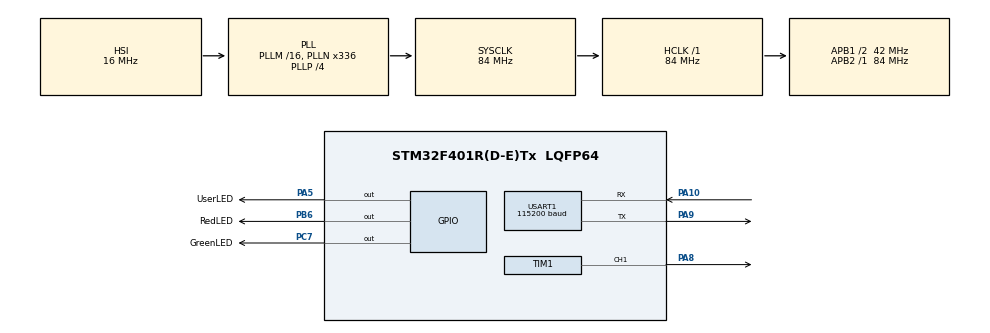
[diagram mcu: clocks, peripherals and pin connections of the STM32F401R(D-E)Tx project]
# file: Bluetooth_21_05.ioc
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Mcu.Family=STM32F4
Mcu.Name=STM32F401R(D-E)Tx
Mcu.Package=LQFP64
NVIC.PriorityGroup=NVIC_PRIORITYGROUP_0
NVIC.TIM2_IRQn=true\:0\:0\:false\:false\:true\:true
NVIC.USART1_IRQn=true\:0\:0\:false\:false\:true\:true
PA10.Mode=Asynchronous
PA10.Signal=USART1_RX
PA5.GPIO_Label=UserLED
PA5.Signal=GPIO_Output
PA8.Signal=S_TIM1_CH1
PA9.Mode=Asynchronous
PA9.Signal=USART1_TX
PB6.GPIO_Label=RedLED
PB6.Signal=GPIO_Output
PC7.GPIO_Label=GreenLED
PC7.Signal=GPIO_Output
ProjectManager.HeapSize=0x200
ProjectManager.StackSize=0x400
ProjectManager.TargetToolchain=SW4STM32
RCC.AHBFreq_Value=84000000
RCC.APB1CLKDivider=RCC_HCLK_DIV2
RCC.APB1Freq_Value=42000000
RCC.APB1TimFreq_Value=84000000
RCC.APB2Freq_Value=84000000
RCC.APB2TimFreq_Value=84000000
RCC.CortexFreq_Value=84000000
RCC.HCLKFreq_Value=84000000
RCC.HSE_VALUE=8000000
RCC.HSI_VALUE=16000000
RCC.LSE_VALUE=32768
RCC.PLLN=336
RCC.PLLP=RCC_PLLP_DIV4
RCC.PLLQ=7
RCC.SYSCLKFreq_VALUE=84000000
RCC.SYSCLKSource=RCC_SYSCLKSOURCE_PLLCLK
RCC.VCOOutputFreq_Value=336000000
SH.S_TIM1_CH1.0=TIM1_CH1,PWM Generation1 CH1
TIM1.Channel-PWM\ Generation1\ CH1=TIM_CHANNEL_1
TIM1.Period=100
TIM1.Prescaler=84
TIM1.Pulse-PWM\ Generation1\ CH1=50
TIM2.Period=2000
TIM2.Prescaler=42000
TIM2.TIM_MasterOutputTrigger=TIM_TRGO_UPDATE
USART1.BaudRate=115200
USART1.VirtualMode=VM_ASYNC
VP_TIM1_VS_ClockSourceINT.Mode=Internal
VP_TIM2_VS_ClockSourceINT.Mode=Internal
board=NUCLEO-F401RE

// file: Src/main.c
/**
  ******************************************************************************
  * @file           : main.c
  * @brief          : Main program body
  ******************************************************************************
  ** This notice applies to any and all portions of this file
  * that are not between comment pairs USER CODE BEGIN and
  * USER CODE END. Other portions of this file, whether
  * inserted by the user or by software development tools
  * are owned by their respective copyright owners.
  *
  * COPYRIGHT(c) 2019 STMicroelectronics
  *
  * Redistribution and use in source and binary forms, with or without modification,
  * are permitted provided that the following conditions are met:
  *   1. Redistributions of source code must retain the above copyright notice,
  *      this list of conditions and the following disclaimer.
  *   2. Redistributions in binary form must reproduce the above copyright notice,
  *      this list of conditions and the following disclaimer in the documentation
  *      and/or other materials provided with the distribution.
  *   3. Neither the name of STMicroelectronics nor the names of its contributors
  *      may be used to endorse or promote products derived from this software
  *      without specific prior written permission.
  *
  * THIS SOFTWARE IS PROVIDED BY THE COPYRIGHT HOLDERS AND CONTRIBUTORS "AS IS"
  * AND ANY EXPRESS OR IMPLIED WARRANTIES, INCLUDING, BUT NOT LIMITED TO, THE
  * IMPLIED WARRANTIES OF MERCHANTABILITY AND FITNESS FOR A PARTICULAR PURPOSE ARE
  * DISCLAIMED. IN NO EVENT SHALL THE COPYRIGHT HOLDER OR CONTRIBUTORS BE LIABLE
  * FOR ANY DIRECT, INDIRECT, INCIDENTAL, SPECIAL, EXEMPLARY, OR CONSEQUENTIAL
  * DAMAGES (INCLUDING, BUT NOT LIMITED TO, PROCUREMENT OF SUBSTITUTE GOODS OR
  * SERVICES; LOSS OF USE, DATA, OR PROFITS; OR BUSINESS INTERRUPTION) HOWEVER
  * CAUSED AND ON ANY THEORY OF LIABILITY, WHETHER IN CONTRACT, STRICT LIABILITY,
  * OR TORT (INCLUDING NEGLIGENCE OR OTHERWISE) ARISING IN ANY WAY OUT OF THE USE
  * OF THIS SOFTWARE, EVEN IF ADVISED OF THE POSSIBILITY OF SUCH DAMAGE.
  *
  ******************************************************************************
  */
#include "main.h"
#include "stm32f4xx_hal.h"

TIM_HandleTypeDef htim1;
TIM_HandleTypeDef htim2;

UART_HandleTypeDef huart1;

/* USER CODE BEGIN PV */
/* Private variables ---------------------------------------------------------*/
uint8_t pData[1];
int counter = 0;
int threshold = 50;
/* USER CODE END PV */

void SystemClock_Config(void);
static void MX_GPIO_Init(void);
static void MX_USART1_UART_Init(void);
static void MX_TIM1_Init(void);
static void MX_TIM2_Init(void);
void HAL_TIM_MspPostInit(TIM_HandleTypeDef *htim);

/* USER CODE BEGIN PFP */
/* Private function prototypes -----------------------------------------------*/

/* USER CODE END PFP */

/* USER CODE BEGIN 0 */

void HAL_UART_RxCpltCallback(UART_HandleTypeDef *huarts){

	HAL_UART_Receive_IT(&huart1, pData, sizeof(pData));
	if((pData[0]=='S') && (counter < threshold)){
		//HAL_GPIO_TogglePin(UserLED_GPIO_Port, UserLED_Pin); //Toggle UserLED

		HAL_GPIO_WritePin(UserLED_GPIO_Port, UserLED_Pin, GPIO_PIN_SET); //Turn on User LED

		HAL_TIM_Base_Start_IT(&htim2); //Enable TIM2 interrupt

		HAL_GPIO_WritePin(RedLED_GPIO_Port, RedLED_Pin, GPIO_PIN_RESET); //Turn off Red LED
		HAL_GPIO_WritePin(GreenLED_GPIO_Port, GreenLED_Pin, GPIO_PIN_SET); //Turn on Green LED

		 HAL_TIM_PWM_Start(&htim1, TIM_CHANNEL_1); //Start PWM
	}
	else if(pData[0]=='E')
	{
		//HAL_GPIO_TogglePin(UserLED_GPIO_Port, UserLED_Pin);

		HAL_GPIO_WritePin(UserLED_GPIO_Port, UserLED_Pin, GPIO_PIN_RESET); //Turn off User LED

		HAL_TIM_Base_Stop_IT(&htim2); //Disable TIM2 interrupt

		HAL_GPIO_WritePin(RedLED_GPIO_Port, RedLED_Pin, GPIO_PIN_SET); //Turn on Red LED
		HAL_GPIO_WritePin(GreenLED_GPIO_Port, GreenLED_Pin, GPIO_PIN_RESET); //Turn off Green LED

		 HAL_TIM_PWM_Stop(&htim1, TIM_CHANNEL_1); //STOP PWM
	}
}
/* USER CODE END 0 */

int main(void)
{
  /* USER CODE BEGIN 1 */
	HAL_GPIO_WritePin(RedLED_GPIO_Port, RedLED_Pin, GPIO_PIN_SET); //Red LED turned on at start up
	HAL_GPIO_WritePin(GreenLED_GPIO_Port, GreenLED_Pin, GPIO_PIN_RESET); //Green LED turned off at start up

	//HAL_GPIO_WritePin(UserLED_GPIO_Port, UserLED_Pin, GPIO_PIN_RESET); //User LED turned off at start up
  /* USER CODE END 1 */

  /* MCU Configuration----------------------------------------------------------*/

  /* Reset of all peripherals, Initializes the Flash interface and the Systick. */
  HAL_Init();

  /* Configure the system clock */
  SystemClock_Config();

  /* Initialize all configured peripherals */
  MX_GPIO_Init();
  MX_USART1_UART_Init();
  MX_TIM1_Init();
  MX_TIM2_Init();
  /* USER CODE BEGIN 2 */
  HAL_UART_Receive_IT(&huart1, pData, sizeof(pData));
  /* USER CODE END 2 */

  /* Infinite loop */
  while (1)
  {

  }

}

void SystemClock_Config(void)
{

  RCC_OscInitTypeDef RCC_OscInitStruct;
  RCC_ClkInitTypeDef RCC_ClkInitStruct;

    /**Configure the main internal regulator output voltage
    */
  __HAL_RCC_PWR_CLK_ENABLE();

  __HAL_PWR_VOLTAGESCALING_CONFIG(PWR_REGULATOR_VOLTAGE_SCALE2);

    /**Initializes the CPU, AHB and APB busses clocks
    */
  RCC_OscInitStruct.OscillatorType = RCC_OSCILLATORTYPE_HSI;
  RCC_OscInitStruct.HSIState = RCC_HSI_ON;
  RCC_OscInitStruct.HSICalibrationValue = 16;
  RCC_OscInitStruct.PLL.PLLState = RCC_PLL_ON;
  RCC_OscInitStruct.PLL.PLLSource = RCC_PLLSOURCE_HSI;
  RCC_OscInitStruct.PLL.PLLM = 16;
  RCC_OscInitStruct.PLL.PLLN = 336;
  RCC_OscInitStruct.PLL.PLLP = RCC_PLLP_DIV4;
  RCC_OscInitStruct.PLL.PLLQ = 7;
  if (HAL_RCC_OscConfig(&RCC_OscInitStruct) != HAL_OK)
  {
    _Error_Handler(__FILE__, __LINE__);
  }

    /**Initializes the CPU, AHB and APB busses clocks
    */
  RCC_ClkInitStruct.ClockType = RCC_CLOCKTYPE_HCLK|RCC_CLOCKTYPE_SYSCLK
                              |RCC_CLOCKTYPE_PCLK1|RCC_CLOCKTYPE_PCLK2;
  RCC_ClkInitStruct.SYSCLKSource = RCC_SYSCLKSOURCE_PLLCLK;
  RCC_ClkInitStruct.AHBCLKDivider = RCC_SYSCLK_DIV1;
  RCC_ClkInitStruct.APB1CLKDivider = RCC_HCLK_DIV2;
  RCC_ClkInitStruct.APB2CLKDivider = RCC_HCLK_DIV1;

  if (HAL_RCC_ClockConfig(&RCC_ClkInitStruct, FLASH_LATENCY_2) != HAL_OK)
  {
    _Error_Handler(__FILE__, __LINE__);
  }

    /**Configure the Systick interrupt time
    */
  HAL_SYSTICK_Config(HAL_RCC_GetHCLKFreq()/1000);

    /**Configure the Systick
    */
  HAL_SYSTICK_CLKSourceConfig(SYSTICK_CLKSOURCE_HCLK);

  /* SysTick_IRQn interrupt configuration */
  HAL_NVIC_SetPriority(SysTick_IRQn, 0, 0);
}

/* TIM1 init function */
static void MX_TIM1_Init(void)
{

  TIM_ClockConfigTypeDef sClockSourceConfig;
  TIM_MasterConfigTypeDef sMasterConfig;
  TIM_OC_InitTypeDef sConfigOC;
  TIM_BreakDeadTimeConfigTypeDef sBreakDeadTimeConfig;

  htim1.Instance = TIM1;
  htim1.Init.Prescaler = 84;
  htim1.Init.CounterMode = TIM_COUNTERMODE_UP;
  htim1.Init.Period = 100;
  htim1.Init.ClockDivision = TIM_CLOCKDIVISION_DIV1;
  htim1.Init.RepetitionCounter = 0;
  if (HAL_TIM_Base_Init(&htim1) != HAL_OK)
  {
    _Error_Handler(__FILE__, __LINE__);
  }

  sClockSourceConfig.ClockSource = TIM_CLOCKSOURCE_INTERNAL;
  if (HAL_TIM_ConfigClockSource(&htim1, &sClockSourceConfig) != HAL_OK)
  {
    _Error_Handler(__FILE__, __LINE__);
  }

  if (HAL_TIM_PWM_Init(&htim1) != HAL_OK)
  {
    _Error_Handler(__FILE__, __LINE__);
  }

  sMasterConfig.MasterOutputTrigger = TIM_TRGO_RESET;
  sMasterConfig.MasterSlaveMode = TIM_MASTERSLAVEMODE_DISABLE;
  if (HAL_TIMEx_MasterConfigSynchronization(&htim1, &sMasterConfig) != HAL_OK)
  {
    _Error_Handler(__FILE__, __LINE__);
  }

  sConfigOC.OCMode = TIM_OCMODE_PWM1;
  sConfigOC.Pulse = 50;
  sConfigOC.OCPolarity = TIM_OCPOLARITY_HIGH;
  sConfigOC.OCNPolarity = TIM_OCNPOLARITY_HIGH;
  sConfigOC.OCFastMode = TIM_OCFAST_DISABLE;
  sConfigOC.OCIdleState = TIM_OCIDLESTATE_RESET;
  sConfigOC.OCNIdleState = TIM_OCNIDLESTATE_RESET;
  if (HAL_TIM_PWM_ConfigChannel(&htim1, &sConfigOC, TIM_CHANNEL_1) != HAL_OK)
  {
    _Error_Handler(__FILE__, __LINE__);
  }

  sBreakDeadTimeConfig.OffStateRunMode = TIM_OSSR_DISABLE;
  sBreakDeadTimeConfig.OffStateIDLEMode = TIM_OSSI_DISABLE;
  sBreakDeadTimeConfig.LockLevel = TIM_LOCKLEVEL_OFF;
  sBreakDeadTimeConfig.DeadTime = 0;
  sBreakDeadTimeConfig.BreakState = TIM_BREAK_DISABLE;
  sBreakDeadTimeConfig.BreakPolarity = TIM_BREAKPOLARITY_HIGH;
  sBreakDeadTimeConfig.AutomaticOutput = TIM_AUTOMATICOUTPUT_DISABLE;
  if (HAL_TIMEx_ConfigBreakDeadTime(&htim1, &sBreakDeadTimeConfig) != HAL_OK)
  {
    _Error_Handler(__FILE__, __LINE__);
  }

  HAL_TIM_MspPostInit(&htim1);

}

/* TIM2 init function */
static void MX_TIM2_Init(void)
{

  TIM_ClockConfigTypeDef sClockSourceConfig;
  TIM_MasterConfigTypeDef sMasterConfig;

  htim2.Instance = TIM2;
  htim2.Init.Prescaler = 42000;
  htim2.Init.CounterMode = TIM_COUNTERMODE_UP;
  htim2.Init.Period = 2000;
  htim2.Init.ClockDivision = TIM_CLOCKDIVISION_DIV1;
  if (HAL_TIM_Base_Init(&htim2) != HAL_OK)
  {
    _Error_Handler(__FILE__, __LINE__);
  }

  sClockSourceConfig.ClockSource = TIM_CLOCKSOURCE_INTERNAL;
  if (HAL_TIM_ConfigClockSource(&htim2, &sClockSourceConfig) != HAL_OK)
  {
    _Error_Handler(__FILE__, __LINE__);
  }

  sMasterConfig.MasterOutputTrigger = TIM_TRGO_UPDATE;
  sMasterConfig.MasterSlaveMode = TIM_MASTERSLAVEMODE_DISABLE;
  if (HAL_TIMEx_MasterConfigSynchronization(&htim2, &sMasterConfig) != HAL_OK)
  {
    _Error_Handler(__FILE__, __LINE__);
  }

}

/* USART1 init function */
static void MX_USART1_UART_Init(void)
{

  huart1.Instance = USART1;
  huart1.Init.BaudRate = 115200;
  huart1.Init.WordLength = UART_WORDLENGTH_8B;
  huart1.Init.StopBits = UART_STOPBITS_1;
  huart1.Init.Parity = UART_PARITY_NONE;
  huart1.Init.Mode = UART_MODE_TX_RX;
  huart1.Init.HwFlowCtl = UART_HWCONTROL_NONE;
  huart1.Init.OverSampling = UART_OVERSAMPLING_16;
  if (HAL_UART_Init(&huart1) != HAL_OK)
  {
    _Error_Handler(__FILE__, __LINE__);
  }

}

/** Configure pins as
        * Analog
        * Input
        * Output
        * EVENT_OUT
        * EXTI
*/
static void MX_GPIO_Init(void)
{

  GPIO_InitTypeDef GPIO_InitStruct;

  /* GPIO Ports Clock Enable */
  __HAL_RCC_GPIOA_CLK_ENABLE();
  __HAL_RCC_GPIOC_CLK_ENABLE();
  __HAL_RCC_GPIOB_CLK_ENABLE();

  /*Configure GPIO pin Output Level */
  HAL_GPIO_WritePin(UserLED_GPIO_Port, UserLED_Pin, GPIO_PIN_RESET);

  /*Configure GPIO pin Output Level */
  HAL_GPIO_WritePin(GreenLED_GPIO_Port, GreenLED_Pin, GPIO_PIN_RESET);

  /*Configure GPIO pin Output Level */
  HAL_GPIO_WritePin(RedLED_GPIO_Port, RedLED_Pin, GPIO_PIN_RESET);

  /*Configure GPIO pin : UserLED_Pin */
  GPIO_InitStruct.Pin = UserLED_Pin;
  GPIO_InitStruct.Mode = GPIO_MODE_OUTPUT_PP;
  GPIO_InitStruct.Pull = GPIO_NOPULL;
  GPIO_InitStruct.Speed = GPIO_SPEED_FREQ_LOW;
  HAL_GPIO_Init(UserLED_GPIO_Port, &GPIO_InitStruct);

  /*Configure GPIO pin : GreenLED_Pin */
  GPIO_InitStruct.Pin = GreenLED_Pin;
  GPIO_InitStruct.Mode = GPIO_MODE_OUTPUT_PP;
  GPIO_InitStruct.Pull = GPIO_NOPULL;
  GPIO_InitStruct.Speed = GPIO_SPEED_FREQ_LOW;
  HAL_GPIO_Init(GreenLED_GPIO_Port, &GPIO_InitStruct);

  /*Configure GPIO pin : RedLED_Pin */
  GPIO_InitStruct.Pin = RedLED_Pin;
  GPIO_InitStruct.Mode = GPIO_MODE_OUTPUT_PP;
  GPIO_InitStruct.Pull = GPIO_NOPULL;
  GPIO_InitStruct.Speed = GPIO_SPEED_FREQ_LOW;
  HAL_GPIO_Init(RedLED_GPIO_Port, &GPIO_InitStruct);

}

/* USER CODE BEGIN 4 */

void HAL_TIM_PeriodElapsedCallback(TIM_HandleTypeDef *htim)
{
  /* Prevent unused argument(s) compilation warning */
  UNUSED(htim);
  /* NOTE : This function Should not be modified, when the callback is needed,
            the __HAL_TIM_PeriodElapsedCallback could be implemented in the user file
   */
  counter++;

  if(counter > threshold)
  {
		HAL_GPIO_TogglePin(UserLED_GPIO_Port, UserLED_Pin);

		HAL_TIM_Base_Stop_IT(&htim2);

		HAL_GPIO_TogglePin(RedLED_GPIO_Port, RedLED_Pin);
		HAL_GPIO_TogglePin(GreenLED_GPIO_Port, GreenLED_Pin);

		 HAL_TIM_PWM_Stop(&htim1, TIM_CHANNEL_1);
  }
}

/* USER CODE END 4 */

void _Error_Handler(char *file, int line)
{
  while(1)
  {
  }
}

/************************ (C) COPYRIGHT STMicroelectronics *****END OF FILE****/
